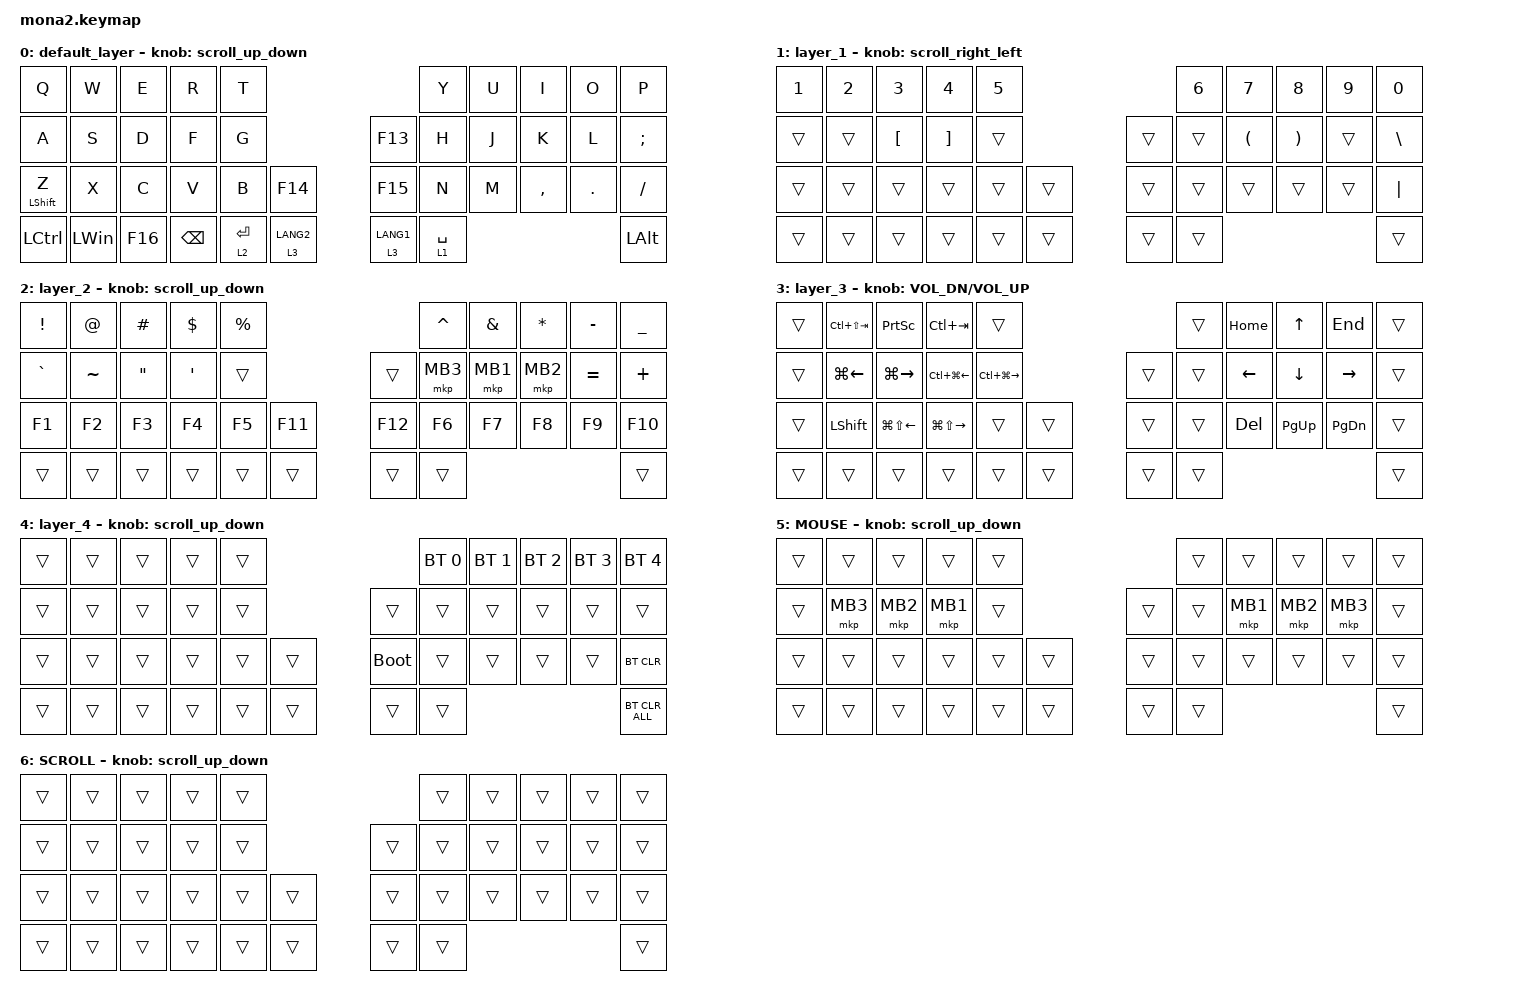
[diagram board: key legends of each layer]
#include <input/processors.dtsi>
#include <dt-bindings/zmk/input_transform.h>
#include <zephyr/dt-bindings/input/input-event-codes.h>
#include <behaviors.dtsi>
#include <dt-bindings/zmk/bt.h>
#include <dt-bindings/zmk/keys.h>
#include <dt-bindings/zmk/pointing.h>

#define ZMK_POINTING_DEFAULT_SCRL_VAL 100
#define MOUSE 5
#define SCROLL 6

&mt {
    flavor = "balanced";
    quick-tap-ms = <0>;
};

&lt {
    quick-tap-ms = <300>;
    flavor = "balanced";
};

&mkp_input_listener {
    input-processors = <&zip_temp_layer 5 200>;
};

/ {
    combos {
        compatible = "zmk,combos";

        layer4_ESC {
            bindings = <&lt 4 ESC>;
            key-positions = <39 38>;
        };

        tab {
            bindings = <&kp TAB>;
            key-positions = <11 12>;
        };
    };

    macros {
        to_layer_0: to_layer_0 {
            compatible = "zmk,behavior-macro-one-param";
            #binding-cells = <1>;
            bindings = <&to 0 &macro_param_1to1 &kp MACRO_PLACEHOLDER>;
            label = "TO_LAYER_0";
        };

        exit_AML: exit_AML {
            compatible = "zmk,behavior-macro";
            wait-ms = <0>;
            tap-ms = <0>;
            #binding-cells = <0>;
            bindings = <&tog_off MOUSE>;
            label = "exit_AML";
        };

        kp_exit_AML: kp_exit_AML {
            compatible = "zmk,behavior-macro-one-param";
            wait-ms = <0>;
            tap-ms = <0>;
            #binding-cells = <1>;
            bindings = <&macro_param_1to1 &kp MACRO_PLACEHOLDER &exit_AML>;
            label = "KP_exit_AML";
        };
    };

    behaviors {
        lt_to_layer_0: lt_to_layer_0 {
            compatible = "zmk,behavior-hold-tap";
            label = "LAYER_TAP_TO_0";
            bindings = <&mo>, <&to_layer_0>;

            #binding-cells = <2>;
            tapping-term-ms = <200>;
        };

        scroll_up_down: mouse_wheel_up_down {
            compatible = "zmk,behavior-sensor-rotate";
            #sensor-binding-cells = <0>;
            bindings = <&msc SCRL_DOWN>, <&msc SCRL_UP>;

            tap-ms = <20>;
        };

        scroll_right_left: mouse_wheel_right_left {
            compatible = "zmk,behavior-sensor-rotate";
            #sensor-binding-cells = <0>;
            bindings = <&msc SCRL_LEFT>, <&msc SCRL_RIGHT>;

            tap-ms = <20>;
        };

        tog_off: toggle_layer_off {
            compatible = "zmk,behavior-toggle-layer";
            #binding-cells = <1>;
            display-name = "Toggle Layer Off";
            toggle-mode = "off";
        };

        mt_exit_AML_on_tap: mt_exit_AML_on_tap {
            compatible = "zmk,behavior-hold-tap";
            label = "MT_exit_AML_ON_TAP";
            bindings = <&kp>, <&kp_exit_AML>;

            #binding-cells = <2>;
            tapping-term-ms = <200>;
            flavor = "balanced";
            quick-tap-ms = <200>;
        };
    };

    keymap {
        compatible = "zmk,keymap";

        default_layer {
            bindings = <
&kp Q             &kp W         &kp E    &kp R          &kp T                                                          &kp Y        &kp U  &kp I      &kp O    &kp P
&kp A             &kp S         &kp D    &kp F          &kp G                                  &kp F13                 &kp H        &kp J  &kp K      &kp L    &kp SEMICOLON
&mt LEFT_SHIFT Z  &kp X         &kp C    &kp V          &kp B        &kp F14                   &kp F15                 &kp N        &kp M  &kp COMMA  &kp DOT  &kp SLASH
&kp LCTRL         &kp LEFT_WIN  &kp F16  &kp BACKSPACE  &lt 2 ENTER  &lt_to_layer_0 3 LANG2    &lt_to_layer_0 3 LANG1  &lt 1 SPACE                             &kp LEFT_ALT
            >;

            sensor-bindings = <&scroll_up_down>;
        };

        layer_1 {
            bindings = <
&kp NUMBER_1  &kp NUMBER_2  &kp NUMBER_3      &kp NUMBER_4       &kp NUMBER_5                    &kp NUMBER_6  &kp NUMBER_7          &kp NUMBER_8           &kp NUMBER_9  &kp NUMBER_0
&trans        &trans        &kp LEFT_BRACKET  &kp RIGHT_BRACKET  &trans                  &trans  &trans        &kp LEFT_PARENTHESIS  &kp RIGHT_PARENTHESIS  &trans        &kp BACKSLASH
&trans        &trans        &trans            &trans             &trans        &trans    &trans  &trans        &trans                &trans                 &trans        &kp PIPE
&trans        &trans        &trans            &trans             &trans        &trans    &trans  &trans                                                                   &trans
            >;

            sensor-bindings = <&scroll_right_left>;
        };

        layer_2 {
            bindings = <
&kp EXCLAMATION  &kp AT_SIGN  &kp POUND          &kp DOLLAR  &kp PERCENT                      &kp CARET  &kp AMPERSAND  &kp ASTERISK  &kp MINUS  &kp UNDERSCORE
&kp GRAVE        &kp TILDE    &kp DOUBLE_QUOTES  &kp SQT     &trans                  &trans   &mkp MB3   &mkp MB1       &mkp MB2      &kp EQUAL  &kp PLUS
&kp F1           &kp F2       &kp F3             &kp F4      &kp F5       &kp F11    &kp F12  &kp F6     &kp F7         &kp F8        &kp F9     &kp F10
&trans           &trans       &trans             &trans      &trans       &trans     &trans   &trans                                             &trans
            >;

            sensor-bindings = <&scroll_up_down>;
        };

        layer_3 {
            bindings = <
&trans  &kp LC(LS(TAB))     &kp PRINTSCREEN         &kp LC(TAB)              &trans                                     &trans  &kp HOME        &kp UP_ARROW    &kp END          &trans
&trans  &kp LG(LEFT_ARROW)  &kp LG(RIGHT_ARROW)     &kp LC(LG(LEFT_ARROW))   &kp LC(LG(RIGHT_ARROW))            &trans  &trans  &kp LEFT_ARROW  &kp DOWN_ARROW  &kp RIGHT_ARROW  &trans
&trans  &kp LEFT_SHIFT      &kp LG(LS(LEFT_ARROW))  &kp LG(LS(RIGHT_ARROW))  &trans                   &trans    &trans  &trans  &kp DELETE      &kp PAGE_UP     &kp PAGE_DOWN    &trans
&trans  &trans              &trans                  &trans                   &trans                   &trans    &trans  &trans                                                   &trans
            >;

            sensor-bindings = <&inc_dec_kp C_VOL_DN C_VOL_UP>;
        };

        layer_4 {
            bindings = <
&trans  &trans  &trans  &trans  &trans                         &bt BT_SEL 0  &bt BT_SEL 1  &bt BT_SEL 2  &bt BT_SEL 3  &bt BT_SEL 4
&trans  &trans  &trans  &trans  &trans            &trans       &trans        &trans        &trans        &trans        &trans
&trans  &trans  &trans  &trans  &trans  &trans    &bootloader  &trans        &trans        &trans        &trans        &bt BT_CLR
&trans  &trans  &trans  &trans  &trans  &trans    &trans       &trans                                                  &bt BT_CLR_ALL
            >;

            sensor-bindings = <&scroll_up_down>;
        };

        MOUSE {
            bindings = <
&trans  &trans    &trans    &trans    &trans                    &trans  &trans    &trans    &trans    &trans
&trans  &mkp MB3  &mkp MB2  &mkp MB1  &trans            &trans  &trans  &mkp MB1  &mkp MB2  &mkp MB3  &trans
&trans  &trans    &trans    &trans    &trans  &trans    &trans  &trans  &trans    &trans    &trans    &trans
&trans  &trans    &trans    &trans    &trans  &trans    &trans  &trans                                &trans
            >;

            sensor-bindings = <&scroll_up_down>;
        };

        SCROLL {
            bindings = <
&trans  &trans  &trans  &trans  &trans                    &trans  &trans  &trans  &trans  &trans
&trans  &trans  &trans  &trans  &trans            &trans  &trans  &trans  &trans  &trans  &trans
&trans  &trans  &trans  &trans  &trans  &trans    &trans  &trans  &trans  &trans  &trans  &trans
&trans  &trans  &trans  &trans  &trans  &trans    &trans  &trans                          &trans
            >;

            sensor-bindings = <&scroll_up_down>;
        };
    };
};
